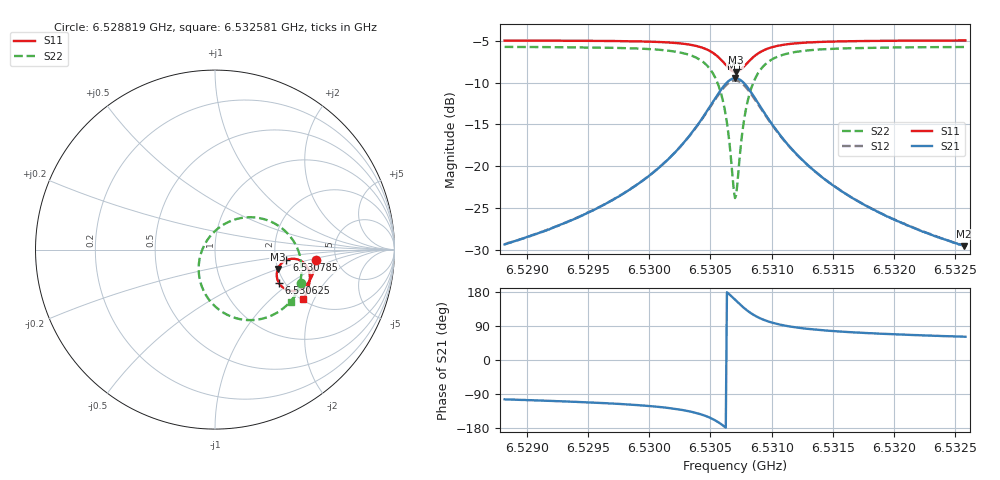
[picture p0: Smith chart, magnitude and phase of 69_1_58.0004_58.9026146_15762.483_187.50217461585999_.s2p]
#  HZ  S  RI  R  50.00
! Rohde & Schwarz Vector Network Analyzer
! Rohde-Schwarz,ZNB20-2Port,1311601062101988,3.16
! Created: UTC 3/21/2024, 12:53:19 AM
! freq[Hz]  re:S11  im:S11  re:S21  im:S21  re:S12  im:S12  re:S22  im:S22
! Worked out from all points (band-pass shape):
!   401 points, 6.528819 GHz to 6.532581 GHz, reference 50 ohm
!   highest |S21| = -9.47 dB at 6.5307 GHz (marker M1); lowest = -29.6 dB at 6.532572 GHz (marker M2)
!   |S21| within 3 dB of the highest: 6.530513 GHz to 6.530889 GHz (376.1 kHz wide, 0.00576 % of centre)
!   lowest |S11| = -8.7 dB at 6.53071 GHz (marker M3), VSWR 2.16, Z = 99.6 - j25 ohm
!   |S11| at or under -10 dB: nowhere
!   |S22| runs from -23.8 to -5.7 dB; largest |S21 - S12| = 0.014
!   S11 on the Smith chart (normalised r, x): 6.528819 GHz: 3.48, -0.58; 6.530625 GHz: 1.87, -0.84; 6.530785 GHz: 2.29, -0.32; 6.532581 GHz: 2.04, -1.66
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6.5288193e9  0.5609 -0.0573  -0.0081 -0.033  -0.00894 -0.0329  0.4815 -0.188
6.5294494e9  0.5512 -0.1116  -0.0182 -0.0472  -0.0194 -0.0468  0.4491 -0.25
6.5297692e9  0.5417 -0.1428  -0.0297 -0.0602  -0.0313 -0.0595  0.4188 -0.2901
6.5300795e9  0.5237 -0.1787  -0.0545 -0.0814  -0.057 -0.0798  0.3623 -0.3408
6.5303052e9  0.4939 -0.2108  -0.1005 -0.1042  -0.1038 -0.1004  0.2691 -0.3837
6.5304651e9  0.4452 -0.2301  -0.1784 -0.1105  -0.181 -0.1026  0.1266 -0.3846
6.5305592e9  0.395 -0.2214  -0.2569 -0.0775  -0.2554 -0.066  -0.0032 -0.3128
6.530625e9  0.3574 -0.1876  -0.3113 -0.0074  -0.3036 0.00384  -0.0804 -0.1844
6.5306532e9  0.347 -0.1638  -0.3234 0.037  -0.313 0.0465  -0.0911 -0.1083
6.5306814e9  0.344 -0.1362  -0.3229 0.0865  -0.3104 0.0929  -0.08 -0.0272
6.5307002e9  0.347 -0.1176  -0.3142 0.1197  -0.3013 0.1236  -0.0594 0.0251
6.5307096e9  0.3498 -0.1086  -0.3074 0.1353  -0.2944 0.138  -0.0454 0.0494
6.5307567e9  0.3767 -0.0714  -0.2547 0.1983  -0.2438 0.1963  0.053 0.1425
6.5307849e9  0.3984 -0.0582  -0.2149 0.2197  -0.2062 0.2163  0.1224 0.171
6.5308507e9  0.4471 -0.052  -0.1291 0.2298  -0.1249 0.2258  0.2672 0.1713
6.5309448e9  0.4922 -0.0724  -0.0526 0.1991  -0.0508 0.1966  0.392 0.1022
6.5310858e9  0.5196 -0.1098  -0.00553 0.1476  -0.00429 0.1468  0.4626 -0.00202
6.5313304e9  0.5287 -0.1564  0.0152 0.095  0.0162 0.0946  0.4827 -0.1117
6.5316313e9  0.5242 -0.1948  0.0187 0.0636  0.0197 0.0634  0.4734 -0.1841
6.5319605e9  0.5148 -0.2269  0.0181 0.046  0.019 0.0457  0.457 -0.2329
6.5325718e9  0.4934 -0.2757  0.0159 0.0293  0.0165 0.0291  0.4255 -0.2929
6.5325812e9  0.493 -0.2764  0.016 0.0293  0.0166 0.0288  0.4248 -0.2937
